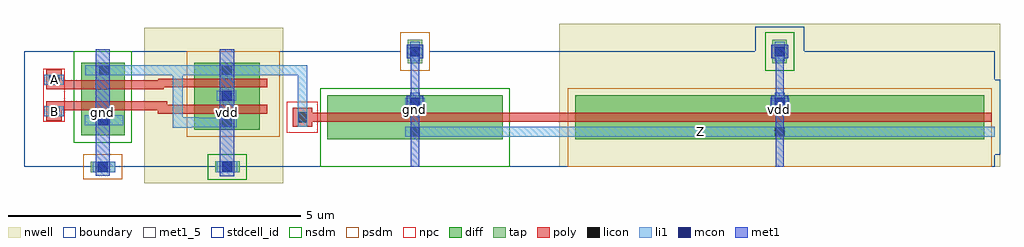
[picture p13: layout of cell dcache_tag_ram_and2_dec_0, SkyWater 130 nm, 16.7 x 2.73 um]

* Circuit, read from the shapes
.subckt dcache_tag_ram_and2_dec_0 A B Z gnd vdd
XM1 n1 B gnd gnd sky130_fd_pr__nfet_01v8 w=0.74 l=0.15
XM2 dcache_tag_ram_pinv_dec_0_1/A A n1 gnd sky130_fd_pr__nfet_01v8 w=0.74 l=0.15
XM3 gnd dcache_tag_ram_pinv_dec_0_1/A Z gnd sky130_fd_pr__nfet_01v8 w=3 l=0.15
XM4 vdd B dcache_tag_ram_pinv_dec_0_1/A vdd sky130_fd_pr__pfet_01v8 w=1.12 l=0.15
XM5 dcache_tag_ram_pinv_dec_0_1/A A vdd vdd sky130_fd_pr__pfet_01v8 w=1.12 l=0.15
XM6 vdd dcache_tag_ram_pinv_dec_0_1/A Z vdd sky130_fd_pr__pfet_01v8 w=7 l=0.15
.ends

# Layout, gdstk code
from math import pi, radians
import gdstk
lib = gdstk.Library(unit=1e-6, precision=1e-09)
def R(c, l, rs):  # rectangles x0, y0, x1, y1
    for r in rs: c.add(gdstk.rectangle(r[:2], r[2:], *l))
nwell = (64, 20)
diff = (65, 20)
tap = (65, 44)
poly = (66, 20)
licon = (66, 44)
li1 = (67, 20)
mcon = (67, 44)
met1_5 = (68, 5)
met1 = (68, 20)
stdcell_id = (81, 4)
nsdm = (93, 44)
psdm = (94, 20)
npc = (95, 20)
boundary = (235, 4)

sky130_fd_bd_sram__openr = lib.new_cell('sky130_fd_bd_sram__openram_dp_nand2_dec')
R(sky130_fd_bd_sram__openr, nwell, [(2.06,-0.28,4.44,2.38)])
R(sky130_fd_bd_sram__openr, diff, [(0.98,0.54,1.72,1.78), (2.91,0.64,4.03,1.78)])
R(sky130_fd_bd_sram__openr, tap, [(3.27,-0.095,3.69,0.095), (1.14,-0.09,1.56,0.09)])
R(sky130_fd_bd_sram__openr, poly, [(0.38,0.79,0.65,0.97), (2.29,0.91,4.16,0.97), (0.38,0.97,4.16,1.06), (0.38,1.06,2.45,1.12), (0.38,1.33,2.39,1.36), (0.38,1.36,4.16,1.48), (0.38,1.48,0.65,1.66), (2.3,1.48,4.16,1.51)])
R(sky130_fd_bd_sram__openr, licon, [(1.265,-0.085,1.435,0.085), (3.395,-0.085,3.565,0.085), (3.385,0.68,3.555,0.85), (1.295,0.71,1.465,0.88), (0.43,0.87,0.6,1.04), (3.385,1.13,3.555,1.3), (0.43,1.41,0.6,1.58), (1.285,1.57,1.455,1.74), (3.385,1.57,3.555,1.74)])
R(sky130_fd_bd_sram__openr, li1, [(3.3,-0.095,3.65,0.095), (1.18,-0.09,1.56,0.09), (2.545,0.67,2.86,0.675), (2.545,0.675,3.425,0.68), (2.545,0.68,3.64,0.845), (1.04,0.71,1.7,0.88), (2.545,0.845,2.99,0.85), (3.3,0.845,3.64,0.85), (2.545,0.85,2.715,1.57), (0.35,0.87,0.68,1.04), (0.35,0.87,0.68,1.04), (3.3,1.13,3.635,1.3), (0.35,1.41,0.68,1.58), (0.35,1.41,0.68,1.58), (1.05,1.57,4.44,1.74), (1.05,1.57,4.44,1.74)])
R(sky130_fd_bd_sram__openr, mcon, [(1.265,-0.085,1.435,0.085), (3.395,-0.085,3.565,0.085), (1.27,0.71,1.44,0.88), (3.385,1.13,3.555,1.3)])
R(sky130_fd_bd_sram__openr, met1_5, [(3.35,-0.16,3.6,2.01), (1.23,-0.15,1.47,2.01)])
R(sky130_fd_bd_sram__openr, met1, [(3.35,-0.16,3.6,2.01), (3.35,-0.16,3.6,2.01), (1.23,-0.15,1.47,2.01), (1.23,-0.15,1.47,2.01)])
R(sky130_fd_bd_sram__openr, nsdm, [(3.145,-0.22,3.815,0.22), (0.855,0.415,1.845,1.975)])
R(sky130_fd_bd_sram__openr, psdm, [(1.015,-0.215,1.685,0.215), (2.785,0.515,4.38,1.975)])
R(sky130_fd_bd_sram__openr, npc, [(0.33,0.77,0.7,1.68)])
R(sky130_fd_bd_sram__openr, boundary, [(0,0,4.38,1.975)])
sky130_fd_bd_sram__openr.add(gdstk.Label('GND', (1.34,0.41), layer=68, texttype=16))
sky130_fd_bd_sram__openr.add(gdstk.Label('VDD', (3.48,0.47), layer=68, texttype=16))
sky130_fd_bd_sram__openr.add(gdstk.Label('B', (0.515,0.955), layer=67, texttype=16))
sky130_fd_bd_sram__openr.add(gdstk.Label('A', (0.515,1.495), layer=67, texttype=16))
sky130_fd_bd_sram__openr.add(gdstk.Label('Z', (4.27,1.655), layer=67, texttype=16))
sky130_fd_bd_sram__openr.add(gdstk.Label('A', (0.515,1.495), layer=67, texttype=5))
sky130_fd_bd_sram__openr.add(gdstk.Label('B', (0.515,0.955), layer=67, texttype=5))
sky130_fd_bd_sram__openr.add(gdstk.Label('Z', (2.745,1.655), layer=67, texttype=5))
sky130_fd_bd_sram__openr.add(gdstk.Label('vdd', (3.475,0.925), layer=68, texttype=5))
sky130_fd_bd_sram__openr.add(gdstk.Label('gnd', (1.35,0.93), layer=68, texttype=5))

dcache_tag_ram_contact_1 = lib.new_cell('dcache_tag_ram_contact_11')
R(dcache_tag_ram_contact_1, nwell, [(-0.295,-0.255,0.545,0.585)])
R(dcache_tag_ram_contact_1, diff, [(0,0.02,0.25,0.31)])
R(dcache_tag_ram_contact_1, licon, [(0.04,0.08,0.21,0.25)])
R(dcache_tag_ram_contact_1, li1, [(0.04,0,0.21,0.33)])
R(dcache_tag_ram_contact_1, stdcell_id, [(-0.295,-0.255,0.545,0.585)])
R(dcache_tag_ram_contact_1, psdm, [(-0.125,-0.105,0.375,0.435)])
R(dcache_tag_ram_contact_1, boundary, [(-0.295,-0.255,0.545,0.585)])

dcache_tag_ram_pmos_m1_w = lib.new_cell('dcache_tag_ram_pmos_m1_w7_000_sli_dli_da_p')
R(dcache_tag_ram_pmos_m1_w, nwell, [(-0.27,-0.27,1.02,7.27)])
R(dcache_tag_ram_pmos_m1_w, diff, [(0,0,0.75,7)])
R(dcache_tag_ram_pmos_m1_w, poly, [(0.3,-0.13,0.45,7.13), (0.3,-0.13,0.45,7.13)])
R(dcache_tag_ram_pmos_m1_w, li1, [(0.04,3.335,0.21,3.665), (0.54,3.335,0.71,3.665)])
R(dcache_tag_ram_pmos_m1_w, stdcell_id, [(-0.27,-0.27,1.02,7.27)])
R(dcache_tag_ram_pmos_m1_w, psdm, [(-0.125,-0.125,0.875,7.125)])
R(dcache_tag_ram_pmos_m1_w, boundary, [(-0.27,-0.27,1.02,7.27)])
dcache_tag_ram_pmos_m1_w.add(gdstk.Reference(dcache_tag_ram_contact_1, (0,3.335)))
dcache_tag_ram_pmos_m1_w.add(gdstk.Reference(dcache_tag_ram_contact_1, (0.5,3.335)))
dcache_tag_ram_pmos_m1_w.add(gdstk.Label('G', (0.375,3.5), layer=66, texttype=5))
dcache_tag_ram_pmos_m1_w.add(gdstk.Label('S', (0.125,3.5), layer=67, texttype=5))
dcache_tag_ram_pmos_m1_w.add(gdstk.Label('D', (0.625,3.5), layer=67, texttype=5))

c_dcache_tag_ram_contact_1 = lib.new_cell('dcache_tag_ram_contact_10')
R(c_dcache_tag_ram_contact_1, diff, [(0,0.02,0.25,0.31)])
R(c_dcache_tag_ram_contact_1, licon, [(0.04,0.08,0.21,0.25)])
R(c_dcache_tag_ram_contact_1, li1, [(0.04,0,0.21,0.33)])
R(c_dcache_tag_ram_contact_1, stdcell_id, [(-0.125,-0.105,0.375,0.435)])
R(c_dcache_tag_ram_contact_1, nsdm, [(-0.125,-0.105,0.375,0.435)])
R(c_dcache_tag_ram_contact_1, boundary, [(-0.125,-0.105,0.375,0.435)])

dcache_tag_ram_nmos_m1_w = lib.new_cell('dcache_tag_ram_nmos_m1_w3_000_sli_dli_da_p')
R(dcache_tag_ram_nmos_m1_w, diff, [(0,0,0.75,3)])
R(dcache_tag_ram_nmos_m1_w, poly, [(0.3,-0.13,0.45,3.13), (0.3,-0.13,0.45,3.13)])
R(dcache_tag_ram_nmos_m1_w, li1, [(0.04,1.335,0.21,1.665), (0.54,1.335,0.71,1.665)])
R(dcache_tag_ram_nmos_m1_w, stdcell_id, [(-0.125,-0.13,0.875,3.13)])
R(dcache_tag_ram_nmos_m1_w, nsdm, [(-0.125,-0.125,0.875,3.125)])
R(dcache_tag_ram_nmos_m1_w, boundary, [(-0.125,-0.13,0.875,3.13)])
dcache_tag_ram_nmos_m1_w.add(gdstk.Reference(c_dcache_tag_ram_contact_1, (0,1.335)))
dcache_tag_ram_nmos_m1_w.add(gdstk.Reference(c_dcache_tag_ram_contact_1, (0.5,1.335)))
dcache_tag_ram_nmos_m1_w.add(gdstk.Label('G', (0.375,1.5), layer=66, texttype=5))
dcache_tag_ram_nmos_m1_w.add(gdstk.Label('S', (0.125,1.5), layer=67, texttype=5))
dcache_tag_ram_nmos_m1_w.add(gdstk.Label('D', (0.625,1.5), layer=67, texttype=5))

c_dcache_tag_ram_contact_1_ = lib.new_cell('dcache_tag_ram_contact_12')
R(c_dcache_tag_ram_contact_1_, nwell, [(-0.295,-0.215,0.545,0.625)])
R(c_dcache_tag_ram_contact_1_, tap, [(0,0,0.25,0.41)])
R(c_dcache_tag_ram_contact_1_, licon, [(0.04,0.12,0.21,0.29)])
R(c_dcache_tag_ram_contact_1_, li1, [(0.04,0.04,0.21,0.37)])
R(c_dcache_tag_ram_contact_1_, stdcell_id, [(-0.295,-0.215,0.545,0.625)])
R(c_dcache_tag_ram_contact_1_, nsdm, [(-0.125,-0.125,0.375,0.535)])
R(c_dcache_tag_ram_contact_1_, boundary, [(-0.295,-0.215,0.545,0.625)])

c_dcache_tag_ram_contact_1__ = lib.new_cell('dcache_tag_ram_contact_13')
R(c_dcache_tag_ram_contact_1__, li1, [(0.06,0,0.23,0.33)])
R(c_dcache_tag_ram_contact_1__, mcon, [(0.06,0.08,0.23,0.25)])
R(c_dcache_tag_ram_contact_1__, met1, [(0,0.05,0.29,0.28)])
R(c_dcache_tag_ram_contact_1__, stdcell_id, [(0,0,0.29,0.33)])
R(c_dcache_tag_ram_contact_1__, boundary, [(0,0,0.29,0.33)])

c_dcache_tag_ram_contact_1___ = lib.new_cell('dcache_tag_ram_contact_14')
R(c_dcache_tag_ram_contact_1___, tap, [(0,0,0.25,0.41)])
R(c_dcache_tag_ram_contact_1___, licon, [(0.04,0.12,0.21,0.29)])
R(c_dcache_tag_ram_contact_1___, li1, [(0.04,0.04,0.21,0.37)])
R(c_dcache_tag_ram_contact_1___, stdcell_id, [(-0.125,-0.125,0.375,0.535)])
R(c_dcache_tag_ram_contact_1___, psdm, [(-0.125,-0.125,0.375,0.535)])
R(c_dcache_tag_ram_contact_1___, boundary, [(-0.125,-0.125,0.375,0.535)])

c_dcache_tag_ram_contact_1____ = lib.new_cell('dcache_tag_ram_contact_15')
R(c_dcache_tag_ram_contact_1____, poly, [(0,0,0.33,0.33)])
R(c_dcache_tag_ram_contact_1____, licon, [(0.08,0.08,0.25,0.25)])
R(c_dcache_tag_ram_contact_1____, li1, [(0.08,0,0.25,0.33)])
R(c_dcache_tag_ram_contact_1____, stdcell_id, [(-0.1,-0.1,0.43,0.43)])
R(c_dcache_tag_ram_contact_1____, npc, [(-0.1,-0.1,0.43,0.43)])
R(c_dcache_tag_ram_contact_1____, boundary, [(-0.1,-0.1,0.43,0.43)])

dcache_tag_ram_pinv_dec_ = lib.new_cell('dcache_tag_ram_pinv_dec_0')
R(dcache_tag_ram_pinv_dec_, nwell, [(4.78,0,12.32,2.45)])
R(dcache_tag_ram_pinv_dec_, poly, [(0.385,0.775,0.68,0.925), (3.94,0.775,4.92,0.925)])
R(dcache_tag_ram_pinv_dec_, li1, [(2.145,0.515,12.23,0.685), (0.3,0.685,0.47,1.015)])
R(dcache_tag_ram_pinv_dec_, met1_5, [(2.24,0,2.38,1.975), (8.48,0,8.62,1.975)])
R(dcache_tag_ram_pinv_dec_, met1, [(2.24,0,2.38,1.975), (8.48,0,8.62,1.975)])
R(dcache_tag_ram_pinv_dec_, stdcell_id, [(0,0,12.23,1.975), (0,0,12.23,1.975)])
R(dcache_tag_ram_pinv_dec_, nsdm, [(0.685,0,3.935,1.225)])
R(dcache_tag_ram_pinv_dec_, psdm, [(4.925,0,12.175,1.225)])
R(dcache_tag_ram_pinv_dec_, boundary, [(0,0,12.23,1.975), (0,0,12.23,1.975)])
dcache_tag_ram_pinv_dec_.add(gdstk.Reference(dcache_tag_ram_pmos_m1_w, (5.05,1.225), rotation=3*pi/2))
dcache_tag_ram_pinv_dec_.add(gdstk.Reference(dcache_tag_ram_nmos_m1_w, (0.81,1.225), rotation=3*pi/2))
dcache_tag_ram_pinv_dec_.add(gdstk.Reference(c_dcache_tag_ram_contact_1_, (8.425,1.77)))
dcache_tag_ram_pinv_dec_.add(gdstk.Reference(c_dcache_tag_ram_contact_1__, (8.405,1.81)))
dcache_tag_ram_pinv_dec_.add(gdstk.Reference(c_dcache_tag_ram_contact_1___, (2.185,1.77)))
dcache_tag_ram_pinv_dec_.add(gdstk.Reference(c_dcache_tag_ram_contact_1__, (2.165,1.81)))
dcache_tag_ram_pinv_dec_.add(gdstk.Reference(c_dcache_tag_ram_contact_1____, (0.22,0.685)))
dcache_tag_ram_pinv_dec_.add(gdstk.Reference(c_dcache_tag_ram_contact_1__, (2.165,0.935)))
dcache_tag_ram_pinv_dec_.add(gdstk.Reference(c_dcache_tag_ram_contact_1__, (8.405,0.935)))
dcache_tag_ram_pinv_dec_.add(gdstk.Label('A', (0.385,0.85), layer=67, texttype=5))
dcache_tag_ram_pinv_dec_.add(gdstk.Label('Z', (7.188,0.6), layer=67, texttype=5))
dcache_tag_ram_pinv_dec_.add(gdstk.Label('gnd', (2.31,0.988), layer=68, texttype=5))
dcache_tag_ram_pinv_dec_.add(gdstk.Label('vdd', (8.55,0.988), layer=68, texttype=5))

dcache_tag_ram_and2_dec_ = lib.new_cell('dcache_tag_ram_and2_dec_0')
R(dcache_tag_ram_and2_dec_, li1, [(6.525,0.515,16.61,0.685), (4.68,0.85,4.85,1.655), (0.35,0.87,0.68,1.04), (0.35,1.41,0.68,1.58), (2.745,1.57,4.765,1.74), (4.68,1.57,4.85,1.74)])
R(dcache_tag_ram_and2_dec_, met1_5, [(3.35,-0.16,3.6,2.01), (1.23,-0.15,1.47,2.01), (6.62,0,6.76,1.975), (12.86,0,13,1.975)])
R(dcache_tag_ram_and2_dec_, met1, [(3.35,-0.16,3.6,2.01), (1.23,-0.15,1.47,2.01), (6.62,0,6.76,1.975), (12.86,0,13,1.975)])
R(dcache_tag_ram_and2_dec_, stdcell_id, [(0,0,16.61,1.975)])
R(dcache_tag_ram_and2_dec_, boundary, [(0,0,16.61,1.975)])
dcache_tag_ram_and2_dec_.add(gdstk.Reference(sky130_fd_bd_sram__openr, (0,0)))
dcache_tag_ram_and2_dec_.add(gdstk.Reference(dcache_tag_ram_pinv_dec_, (4.38,0)))
dcache_tag_ram_and2_dec_.add(gdstk.Label('Z', (11.567,0.6), layer=67, texttype=5))
dcache_tag_ram_and2_dec_.add(gdstk.Label('A', (0.515,1.495), layer=67, texttype=5))
dcache_tag_ram_and2_dec_.add(gdstk.Label('B', (0.515,0.955), layer=67, texttype=5))
dcache_tag_ram_and2_dec_.add(gdstk.Label('vdd', (12.93,0.988), layer=68, texttype=5))
dcache_tag_ram_and2_dec_.add(gdstk.Label('vdd', (3.475,0.925), layer=68, texttype=5))
dcache_tag_ram_and2_dec_.add(gdstk.Label('gnd', (1.35,0.93), layer=68, texttype=5))
dcache_tag_ram_and2_dec_.add(gdstk.Label('gnd', (6.69,0.988), layer=68, texttype=5))

lib.write_gds('dcache_tag_ram_and2_dec_0.gds')
